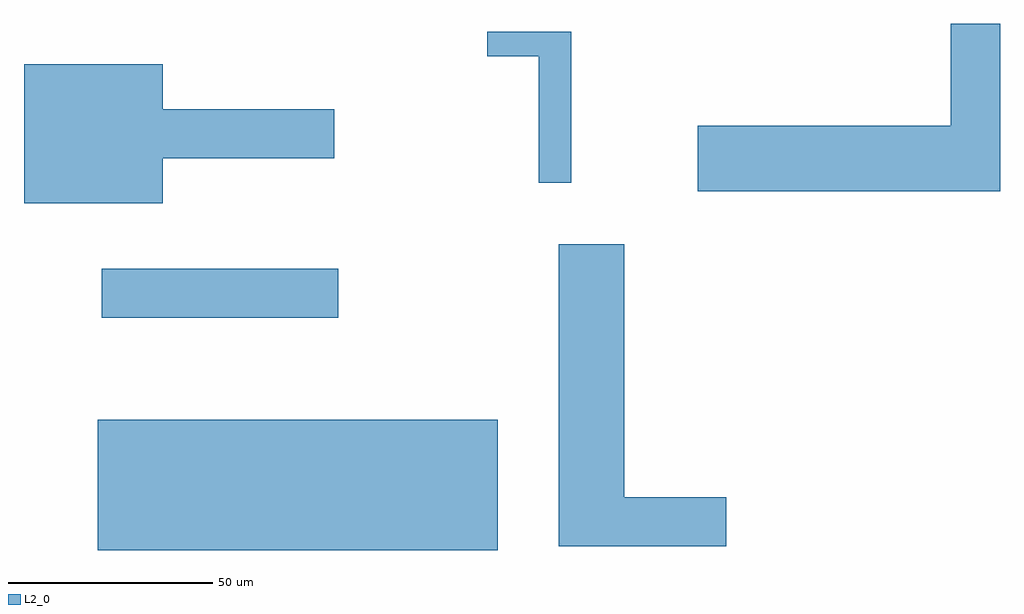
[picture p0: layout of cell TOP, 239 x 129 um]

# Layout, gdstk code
from math import pi, radians
import gdstk
lib = gdstk.Library(unit=1e-6, precision=1e-09)
def R(c, l, rs):  # rectangles x0, y0, x1, y1
    for r in rs: c.add(gdstk.rectangle(r[:2], r[2:], *l))
L2_0 = (2, 0)
L10_0 = (10, 0)
L11_0 = (11, 0)
L12_0 = (12, 0)
L13_0 = (13, 0)
L20_0 = (20, 0)
L21_0 = (21, 0)
L22_0 = (22, 0)
L23_0 = (23, 0)
L30_0 = (30, 0)
L31_0 = (31, 0)
L32_0 = (32, 0)
L33_0 = (33, 0)

c_a = lib.new_cell('A')
R(c_a, L2_0, [(0,-12,58,0)])

c_b = lib.new_cell('B')
R(c_b, L2_0, [(12,-17,20,20), (-0.5,14,20,20)])

b_var1 = lib.new_cell('B$VAR1')
b_var1.add(gdstk.FlexPath([(12,-17),(12,-16.5)], 0, ends="flush", simple_path=True, layer=10, datatype=0))  # L10_0
b_var1.add(gdstk.FlexPath([(12,14),(11.5,14)], 0, ends="flush", simple_path=True, layer=10, datatype=0))  # L10_0
b_var1.add(gdstk.FlexPath([(-0.5,14),(-0.5,14.5)], 0, ends="flush", simple_path=True, layer=10, datatype=0))  # L10_0
b_var1.add(gdstk.FlexPath([(-0.5,20),(0,20)], 0, ends="flush", simple_path=True, layer=10, datatype=0))  # L10_0
b_var1.add(gdstk.FlexPath([(20,20),(20,19.5)], 0, ends="flush", simple_path=True, layer=10, datatype=0))  # L10_0
b_var1.add(gdstk.FlexPath([(20,-17),(19.5,-17)], 0, ends="flush", simple_path=True, layer=10, datatype=0))  # L10_0
b_var1.add(gdstk.FlexPath([(12,-17),(12,-10.8)], 0, ends="flush", simple_path=True, layer=11, datatype=0))  # L11_0
b_var1.add(gdstk.FlexPath([(12,14),(9.5,14)], 0, ends="flush", simple_path=True, layer=11, datatype=0))  # L11_0
b_var1.add(gdstk.FlexPath([(-0.5,14),(-0.5,15.2)], 0, ends="flush", simple_path=True, layer=11, datatype=0))  # L11_0
b_var1.add(gdstk.FlexPath([(-0.5,20),(3.6,20)], 0, ends="flush", simple_path=True, layer=11, datatype=0))  # L11_0
b_var1.add(gdstk.FlexPath([(20,20),(20,12.6)], 0, ends="flush", simple_path=True, layer=11, datatype=0))  # L11_0
b_var1.add(gdstk.FlexPath([(20,-17),(18.4,-17)], 0, ends="flush", simple_path=True, layer=11, datatype=0))  # L11_0
b_var1.add(gdstk.FlexPath([(12,14),(11.5,14)], 0, ends="flush", simple_path=True, layer=12, datatype=0))  # L12_0
b_var1.add(gdstk.FlexPath([(-0.5,14),(-0.5,14.5)], 0, ends="flush", simple_path=True, layer=12, datatype=0))  # L12_0
b_var1.add(gdstk.FlexPath([(20,-17),(19.5,-17)], 0, ends="flush", simple_path=True, layer=12, datatype=0))  # L12_0
b_var1.add(gdstk.FlexPath([(12,14),(9.5,14)], 0, ends="flush", simple_path=True, layer=13, datatype=0))  # L13_0
b_var1.add(gdstk.FlexPath([(-0.5,14),(-0.5,15.2)], 0, ends="flush", simple_path=True, layer=13, datatype=0))  # L13_0
b_var1.add(gdstk.FlexPath([(20,-17),(18.4,-17)], 0, ends="flush", simple_path=True, layer=13, datatype=0))  # L13_0
b_var1.add(gdstk.FlexPath([(12,13.5),(12,14)], 0, ends="flush", simple_path=True, layer=20, datatype=0))  # L20_0
b_var1.add(gdstk.FlexPath([(0,14),(-0.5,14)], 0, ends="flush", simple_path=True, layer=20, datatype=0))  # L20_0
b_var1.add(gdstk.FlexPath([(-0.5,19.5),(-0.5,20)], 0, ends="flush", simple_path=True, layer=20, datatype=0))  # L20_0
b_var1.add(gdstk.FlexPath([(19.5,20),(20,20)], 0, ends="flush", simple_path=True, layer=20, datatype=0))  # L20_0
b_var1.add(gdstk.FlexPath([(20,-16.5),(20,-17)], 0, ends="flush", simple_path=True, layer=20, datatype=0))  # L20_0
b_var1.add(gdstk.FlexPath([(12.5,-17),(12,-17)], 0, ends="flush", simple_path=True, layer=20, datatype=0))  # L20_0
b_var1.add(gdstk.FlexPath([(12,7.8),(12,14)], 0, ends="flush", simple_path=True, layer=21, datatype=0))  # L21_0
b_var1.add(gdstk.FlexPath([(2,14),(-0.5,14)], 0, ends="flush", simple_path=True, layer=21, datatype=0))  # L21_0
b_var1.add(gdstk.FlexPath([(-0.5,18.8),(-0.5,20)], 0, ends="flush", simple_path=True, layer=21, datatype=0))  # L21_0
b_var1.add(gdstk.FlexPath([(15.9,20),(20,20)], 0, ends="flush", simple_path=True, layer=21, datatype=0))  # L21_0
b_var1.add(gdstk.FlexPath([(20,-9.6),(20,-17)], 0, ends="flush", simple_path=True, layer=21, datatype=0))  # L21_0
b_var1.add(gdstk.FlexPath([(13.6,-17),(12,-17)], 0, ends="flush", simple_path=True, layer=21, datatype=0))  # L21_0
b_var1.add(gdstk.FlexPath([(0,14),(-0.5,14)], 0, ends="flush", simple_path=True, layer=22, datatype=0))  # L22_0
b_var1.add(gdstk.FlexPath([(-0.5,19.5),(-0.5,20)], 0, ends="flush", simple_path=True, layer=22, datatype=0))  # L22_0
b_var1.add(gdstk.FlexPath([(12.5,-17),(12,-17)], 0, ends="flush", simple_path=True, layer=22, datatype=0))  # L22_0
b_var1.add(gdstk.FlexPath([(2,14),(-0.5,14)], 0, ends="flush", simple_path=True, layer=23, datatype=0))  # L23_0
b_var1.add(gdstk.FlexPath([(-0.5,18.8),(-0.5,20)], 0, ends="flush", simple_path=True, layer=23, datatype=0))  # L23_0
b_var1.add(gdstk.FlexPath([(13.6,-17),(12,-17)], 0, ends="flush", simple_path=True, layer=23, datatype=0))  # L23_0
b_var1.add(gdstk.FlexPath([(12,-1.75),(12,-1.25)], 0, ends="flush", simple_path=True, layer=30, datatype=0))  # L30_0
b_var1.add(gdstk.FlexPath([(6,14),(5.5,14)], 0, ends="flush", simple_path=True, layer=30, datatype=0))  # L30_0
b_var1.add(gdstk.FlexPath([(-0.5,16.75),(-0.5,17.25)], 0, ends="flush", simple_path=True, layer=30, datatype=0))  # L30_0
b_var1.add(gdstk.FlexPath([(9.5,20),(10,20)], 0, ends="flush", simple_path=True, layer=30, datatype=0))  # L30_0
b_var1.add(gdstk.FlexPath([(20,1.75),(20,1.25)], 0, ends="flush", simple_path=True, layer=30, datatype=0))  # L30_0
b_var1.add(gdstk.FlexPath([(16.25,-17),(15.75,-17)], 0, ends="flush", simple_path=True, layer=30, datatype=0))  # L30_0
b_var1.add(gdstk.FlexPath([(12,-4.6),(12,1.6)], 0, ends="flush", simple_path=True, layer=31, datatype=0))  # L31_0
b_var1.add(gdstk.FlexPath([(7,14),(4.5,14)], 0, ends="flush", simple_path=True, layer=31, datatype=0))  # L31_0
b_var1.add(gdstk.FlexPath([(-0.5,16.4),(-0.5,17.6)], 0, ends="flush", simple_path=True, layer=31, datatype=0))  # L31_0
b_var1.add(gdstk.FlexPath([(7.7,20),(11.8,20)], 0, ends="flush", simple_path=True, layer=31, datatype=0))  # L31_0
b_var1.add(gdstk.FlexPath([(20,5.2),(20,-2.2)], 0, ends="flush", simple_path=True, layer=31, datatype=0))  # L31_0
b_var1.add(gdstk.FlexPath([(16.8,-17),(15.2,-17)], 0, ends="flush", simple_path=True, layer=31, datatype=0))  # L31_0
b_var1.add(gdstk.FlexPath([(6,14),(5.5,14)], 0, ends="flush", simple_path=True, layer=32, datatype=0))  # L32_0
b_var1.add(gdstk.FlexPath([(-0.5,16.75),(-0.5,17.25)], 0, ends="flush", simple_path=True, layer=32, datatype=0))  # L32_0
b_var1.add(gdstk.FlexPath([(16.25,-17),(15.75,-17)], 0, ends="flush", simple_path=True, layer=32, datatype=0))  # L32_0
b_var1.add(gdstk.FlexPath([(7,14),(4.5,14)], 0, ends="flush", simple_path=True, layer=33, datatype=0))  # L33_0
b_var1.add(gdstk.FlexPath([(-0.5,16.4),(-0.5,17.6)], 0, ends="flush", simple_path=True, layer=33, datatype=0))  # L33_0
b_var1.add(gdstk.FlexPath([(16.8,-17),(15.2,-17)], 0, ends="flush", simple_path=True, layer=33, datatype=0))  # L33_0

c_c = lib.new_cell('C')
c_c.add(gdstk.Reference(c_b, (14,28), rotation=pi))
c_c.add(gdstk.Reference(b_var1, (14,28), rotation=pi))

b_1 = lib.new_cell('B$1')
b_1.add(gdstk.FlexPath([(12,-17),(12,-16)], 0, ends="flush", simple_path=True, layer=10, datatype=0))  # L10_0
b_1.add(gdstk.FlexPath([(12,14),(11,14)], 0, ends="flush", simple_path=True, layer=10, datatype=0))  # L10_0
b_1.add(gdstk.FlexPath([(-0.5,14),(-0.5,15)], 0, ends="flush", simple_path=True, layer=10, datatype=0))  # L10_0
b_1.add(gdstk.FlexPath([(-0.5,20),(0.5,20)], 0, ends="flush", simple_path=True, layer=10, datatype=0))  # L10_0
b_1.add(gdstk.FlexPath([(20,20),(20,19)], 0, ends="flush", simple_path=True, layer=10, datatype=0))  # L10_0
b_1.add(gdstk.FlexPath([(20,-17),(19,-17)], 0, ends="flush", simple_path=True, layer=10, datatype=0))  # L10_0
b_1.add(gdstk.FlexPath([(12,-17),(12,-10.8)], 0, ends="flush", simple_path=True, layer=11, datatype=0))  # L11_0
b_1.add(gdstk.FlexPath([(12,14),(9.5,14)], 0, ends="flush", simple_path=True, layer=11, datatype=0))  # L11_0
b_1.add(gdstk.FlexPath([(-0.5,14),(-0.5,15.2)], 0, ends="flush", simple_path=True, layer=11, datatype=0))  # L11_0
b_1.add(gdstk.FlexPath([(-0.5,20),(3.6,20)], 0, ends="flush", simple_path=True, layer=11, datatype=0))  # L11_0
b_1.add(gdstk.FlexPath([(20,20),(20,12.6)], 0, ends="flush", simple_path=True, layer=11, datatype=0))  # L11_0
b_1.add(gdstk.FlexPath([(20,-17),(18.4,-17)], 0, ends="flush", simple_path=True, layer=11, datatype=0))  # L11_0
b_1.add(gdstk.FlexPath([(12,-17),(12,-16)], 0, ends="flush", simple_path=True, layer=12, datatype=0))  # L12_0
b_1.add(gdstk.FlexPath([(12,14),(11,14)], 0, ends="flush", simple_path=True, layer=12, datatype=0))  # L12_0
b_1.add(gdstk.FlexPath([(-0.5,14),(-0.5,15)], 0, ends="flush", simple_path=True, layer=12, datatype=0))  # L12_0
b_1.add(gdstk.FlexPath([(-0.5,20),(0.5,20)], 0, ends="flush", simple_path=True, layer=12, datatype=0))  # L12_0
b_1.add(gdstk.FlexPath([(20,20),(20,19)], 0, ends="flush", simple_path=True, layer=12, datatype=0))  # L12_0
b_1.add(gdstk.FlexPath([(20,-17),(19,-17)], 0, ends="flush", simple_path=True, layer=12, datatype=0))  # L12_0
b_1.add(gdstk.FlexPath([(12,-17),(12,-10.8)], 0, ends="flush", simple_path=True, layer=13, datatype=0))  # L13_0
b_1.add(gdstk.FlexPath([(12,14),(9.5,14)], 0, ends="flush", simple_path=True, layer=13, datatype=0))  # L13_0
b_1.add(gdstk.FlexPath([(-0.5,14),(-0.5,15.2)], 0, ends="flush", simple_path=True, layer=13, datatype=0))  # L13_0
b_1.add(gdstk.FlexPath([(-0.5,20),(3.6,20)], 0, ends="flush", simple_path=True, layer=13, datatype=0))  # L13_0
b_1.add(gdstk.FlexPath([(20,20),(20,12.6)], 0, ends="flush", simple_path=True, layer=13, datatype=0))  # L13_0
b_1.add(gdstk.FlexPath([(20,-17),(18.4,-17)], 0, ends="flush", simple_path=True, layer=13, datatype=0))  # L13_0
b_1.add(gdstk.FlexPath([(12,13),(12,14)], 0, ends="flush", simple_path=True, layer=20, datatype=0))  # L20_0
b_1.add(gdstk.FlexPath([(0.5,14),(-0.5,14)], 0, ends="flush", simple_path=True, layer=20, datatype=0))  # L20_0
b_1.add(gdstk.FlexPath([(-0.5,19),(-0.5,20)], 0, ends="flush", simple_path=True, layer=20, datatype=0))  # L20_0
b_1.add(gdstk.FlexPath([(19,20),(20,20)], 0, ends="flush", simple_path=True, layer=20, datatype=0))  # L20_0
b_1.add(gdstk.FlexPath([(20,-16),(20,-17)], 0, ends="flush", simple_path=True, layer=20, datatype=0))  # L20_0
b_1.add(gdstk.FlexPath([(13,-17),(12,-17)], 0, ends="flush", simple_path=True, layer=20, datatype=0))  # L20_0
b_1.add(gdstk.FlexPath([(12,7.8),(12,14)], 0, ends="flush", simple_path=True, layer=21, datatype=0))  # L21_0
b_1.add(gdstk.FlexPath([(2,14),(-0.5,14)], 0, ends="flush", simple_path=True, layer=21, datatype=0))  # L21_0
b_1.add(gdstk.FlexPath([(-0.5,18.8),(-0.5,20)], 0, ends="flush", simple_path=True, layer=21, datatype=0))  # L21_0
b_1.add(gdstk.FlexPath([(15.9,20),(20,20)], 0, ends="flush", simple_path=True, layer=21, datatype=0))  # L21_0
b_1.add(gdstk.FlexPath([(20,-9.6),(20,-17)], 0, ends="flush", simple_path=True, layer=21, datatype=0))  # L21_0
b_1.add(gdstk.FlexPath([(13.6,-17),(12,-17)], 0, ends="flush", simple_path=True, layer=21, datatype=0))  # L21_0
b_1.add(gdstk.FlexPath([(12,13),(12,14)], 0, ends="flush", simple_path=True, layer=22, datatype=0))  # L22_0
b_1.add(gdstk.FlexPath([(0.5,14),(-0.5,14)], 0, ends="flush", simple_path=True, layer=22, datatype=0))  # L22_0
b_1.add(gdstk.FlexPath([(-0.5,19),(-0.5,20)], 0, ends="flush", simple_path=True, layer=22, datatype=0))  # L22_0
b_1.add(gdstk.FlexPath([(19,20),(20,20)], 0, ends="flush", simple_path=True, layer=22, datatype=0))  # L22_0
b_1.add(gdstk.FlexPath([(20,-16),(20,-17)], 0, ends="flush", simple_path=True, layer=22, datatype=0))  # L22_0
b_1.add(gdstk.FlexPath([(13,-17),(12,-17)], 0, ends="flush", simple_path=True, layer=22, datatype=0))  # L22_0
b_1.add(gdstk.FlexPath([(12,7.8),(12,14)], 0, ends="flush", simple_path=True, layer=23, datatype=0))  # L23_0
b_1.add(gdstk.FlexPath([(2,14),(-0.5,14)], 0, ends="flush", simple_path=True, layer=23, datatype=0))  # L23_0
b_1.add(gdstk.FlexPath([(-0.5,18.8),(-0.5,20)], 0, ends="flush", simple_path=True, layer=23, datatype=0))  # L23_0
b_1.add(gdstk.FlexPath([(15.9,20),(20,20)], 0, ends="flush", simple_path=True, layer=23, datatype=0))  # L23_0
b_1.add(gdstk.FlexPath([(20,-9.6),(20,-17)], 0, ends="flush", simple_path=True, layer=23, datatype=0))  # L23_0
b_1.add(gdstk.FlexPath([(13.6,-17),(12,-17)], 0, ends="flush", simple_path=True, layer=23, datatype=0))  # L23_0
b_1.add(gdstk.FlexPath([(12,-2),(12,-1)], 0, ends="flush", simple_path=True, layer=30, datatype=0))  # L30_0
b_1.add(gdstk.FlexPath([(6.25,14),(5.25,14)], 0, ends="flush", simple_path=True, layer=30, datatype=0))  # L30_0
b_1.add(gdstk.FlexPath([(-0.5,16.5),(-0.5,17.5)], 0, ends="flush", simple_path=True, layer=30, datatype=0))  # L30_0
b_1.add(gdstk.FlexPath([(9.25,20),(10.25,20)], 0, ends="flush", simple_path=True, layer=30, datatype=0))  # L30_0
b_1.add(gdstk.FlexPath([(20,2),(20,1)], 0, ends="flush", simple_path=True, layer=30, datatype=0))  # L30_0
b_1.add(gdstk.FlexPath([(16.5,-17),(15.5,-17)], 0, ends="flush", simple_path=True, layer=30, datatype=0))  # L30_0
b_1.add(gdstk.FlexPath([(12,-4.6),(12,1.6)], 0, ends="flush", simple_path=True, layer=31, datatype=0))  # L31_0
b_1.add(gdstk.FlexPath([(7,14),(4.5,14)], 0, ends="flush", simple_path=True, layer=31, datatype=0))  # L31_0
b_1.add(gdstk.FlexPath([(-0.5,16.4),(-0.5,17.6)], 0, ends="flush", simple_path=True, layer=31, datatype=0))  # L31_0
b_1.add(gdstk.FlexPath([(7.7,20),(11.8,20)], 0, ends="flush", simple_path=True, layer=31, datatype=0))  # L31_0
b_1.add(gdstk.FlexPath([(20,5.2),(20,-2.2)], 0, ends="flush", simple_path=True, layer=31, datatype=0))  # L31_0
b_1.add(gdstk.FlexPath([(16.8,-17),(15.2,-17)], 0, ends="flush", simple_path=True, layer=31, datatype=0))  # L31_0
b_1.add(gdstk.FlexPath([(12,-2),(12,-1)], 0, ends="flush", simple_path=True, layer=32, datatype=0))  # L32_0
b_1.add(gdstk.FlexPath([(6.25,14),(5.25,14)], 0, ends="flush", simple_path=True, layer=32, datatype=0))  # L32_0
b_1.add(gdstk.FlexPath([(-0.5,16.5),(-0.5,17.5)], 0, ends="flush", simple_path=True, layer=32, datatype=0))  # L32_0
b_1.add(gdstk.FlexPath([(9.25,20),(10.25,20)], 0, ends="flush", simple_path=True, layer=32, datatype=0))  # L32_0
b_1.add(gdstk.FlexPath([(20,2),(20,1)], 0, ends="flush", simple_path=True, layer=32, datatype=0))  # L32_0
b_1.add(gdstk.FlexPath([(16.5,-17),(15.5,-17)], 0, ends="flush", simple_path=True, layer=32, datatype=0))  # L32_0
b_1.add(gdstk.FlexPath([(12,-4.6),(12,1.6)], 0, ends="flush", simple_path=True, layer=33, datatype=0))  # L33_0
b_1.add(gdstk.FlexPath([(7,14),(4.5,14)], 0, ends="flush", simple_path=True, layer=33, datatype=0))  # L33_0
b_1.add(gdstk.FlexPath([(-0.5,16.4),(-0.5,17.6)], 0, ends="flush", simple_path=True, layer=33, datatype=0))  # L33_0
b_1.add(gdstk.FlexPath([(7.7,20),(11.8,20)], 0, ends="flush", simple_path=True, layer=33, datatype=0))  # L33_0
b_1.add(gdstk.FlexPath([(20,5.2),(20,-2.2)], 0, ends="flush", simple_path=True, layer=33, datatype=0))  # L33_0
b_1.add(gdstk.FlexPath([(16.8,-17),(15.2,-17)], 0, ends="flush", simple_path=True, layer=33, datatype=0))  # L33_0

top = lib.new_cell('TOP')
R(top, L2_0, [(-11,-15,23,19)])
top.add(gdstk.FlexPath([(-11,-15),(-11,-14)], 0, ends="flush", simple_path=True, layer=10, datatype=0))  # L10_0
top.add(gdstk.FlexPath([(-11,19),(-10,19)], 0, ends="flush", simple_path=True, layer=10, datatype=0))  # L10_0
top.add(gdstk.FlexPath([(23,19),(23,18)], 0, ends="flush", simple_path=True, layer=10, datatype=0))  # L10_0
top.add(gdstk.FlexPath([(23,8),(24,8)], 0, ends="flush", simple_path=True, layer=10, datatype=0))  # L10_0
top.add(gdstk.FlexPath([(65,8),(65,7)], 0, ends="flush", simple_path=True, layer=10, datatype=0))  # L10_0
top.add(gdstk.FlexPath([(65,-4),(64,-4)], 0, ends="flush", simple_path=True, layer=10, datatype=0))  # L10_0
top.add(gdstk.FlexPath([(23,-4),(23,-5)], 0, ends="flush", simple_path=True, layer=10, datatype=0))  # L10_0
top.add(gdstk.FlexPath([(23,-15),(22,-15)], 0, ends="flush", simple_path=True, layer=10, datatype=0))  # L10_0
top.add(gdstk.FlexPath([(7,-100),(7,-99)], 0, ends="flush", simple_path=True, layer=10, datatype=0))  # L10_0
top.add(gdstk.FlexPath([(7,-68),(8,-68)], 0, ends="flush", simple_path=True, layer=10, datatype=0))  # L10_0
top.add(gdstk.FlexPath([(105,-68),(105,-69)], 0, ends="flush", simple_path=True, layer=10, datatype=0))  # L10_0
top.add(gdstk.FlexPath([(105,-100),(104,-100)], 0, ends="flush", simple_path=True, layer=10, datatype=0))  # L10_0
top.add(gdstk.FlexPath([(8,-43),(8,-42)], 0, ends="flush", simple_path=True, layer=10, datatype=0))  # L10_0
top.add(gdstk.FlexPath([(8,-31),(9,-31)], 0, ends="flush", simple_path=True, layer=10, datatype=0))  # L10_0
top.add(gdstk.FlexPath([(66,-31),(66,-32)], 0, ends="flush", simple_path=True, layer=10, datatype=0))  # L10_0
top.add(gdstk.FlexPath([(66,-43),(65,-43)], 0, ends="flush", simple_path=True, layer=10, datatype=0))  # L10_0
top.add(gdstk.FlexPath([(-11,-15),(-11,-8.2)], 0, ends="flush", simple_path=True, layer=11, datatype=0))  # L11_0
top.add(gdstk.FlexPath([(-11,19),(-4.2,19)], 0, ends="flush", simple_path=True, layer=11, datatype=0))  # L11_0
top.add(gdstk.FlexPath([(23,19),(23,16.8)], 0, ends="flush", simple_path=True, layer=11, datatype=0))  # L11_0
top.add(gdstk.FlexPath([(23,8),(31.4,8)], 0, ends="flush", simple_path=True, layer=11, datatype=0))  # L11_0
top.add(gdstk.FlexPath([(65,8),(65,5.6)], 0, ends="flush", simple_path=True, layer=11, datatype=0))  # L11_0
top.add(gdstk.FlexPath([(65,-4),(56.6,-4)], 0, ends="flush", simple_path=True, layer=11, datatype=0))  # L11_0
top.add(gdstk.FlexPath([(23,-4),(23,-6.2)], 0, ends="flush", simple_path=True, layer=11, datatype=0))  # L11_0
top.add(gdstk.FlexPath([(23,-15),(16.2,-15)], 0, ends="flush", simple_path=True, layer=11, datatype=0))  # L11_0
top.add(gdstk.FlexPath([(7,-100),(7,-93.6)], 0, ends="flush", simple_path=True, layer=11, datatype=0))  # L11_0
top.add(gdstk.FlexPath([(7,-68),(26.6,-68)], 0, ends="flush", simple_path=True, layer=11, datatype=0))  # L11_0
top.add(gdstk.FlexPath([(105,-68),(105,-74.4)], 0, ends="flush", simple_path=True, layer=11, datatype=0))  # L11_0
top.add(gdstk.FlexPath([(105,-100),(85.4,-100)], 0, ends="flush", simple_path=True, layer=11, datatype=0))  # L11_0
top.add(gdstk.FlexPath([(8,-43),(8,-40.6)], 0, ends="flush", simple_path=True, layer=11, datatype=0))  # L11_0
top.add(gdstk.FlexPath([(8,-31),(19.6,-31)], 0, ends="flush", simple_path=True, layer=11, datatype=0))  # L11_0
top.add(gdstk.FlexPath([(66,-31),(66,-33.4)], 0, ends="flush", simple_path=True, layer=11, datatype=0))  # L11_0
top.add(gdstk.FlexPath([(66,-43),(54.4,-43)], 0, ends="flush", simple_path=True, layer=11, datatype=0))  # L11_0
top.add(gdstk.FlexPath([(-11,-15),(-11,-14)], 0, ends="flush", simple_path=True, layer=12, datatype=0))  # L12_0
top.add(gdstk.FlexPath([(-11,19),(-10,19)], 0, ends="flush", simple_path=True, layer=12, datatype=0))  # L12_0
top.add(gdstk.FlexPath([(23,19),(23,18)], 0, ends="flush", simple_path=True, layer=12, datatype=0))  # L12_0
top.add(gdstk.FlexPath([(65,8),(65,7)], 0, ends="flush", simple_path=True, layer=12, datatype=0))  # L12_0
top.add(gdstk.FlexPath([(23,-4),(23,-5)], 0, ends="flush", simple_path=True, layer=12, datatype=0))  # L12_0
top.add(gdstk.FlexPath([(23,-15),(22,-15)], 0, ends="flush", simple_path=True, layer=12, datatype=0))  # L12_0
top.add(gdstk.FlexPath([(7,-100),(7,-99)], 0, ends="flush", simple_path=True, layer=12, datatype=0))  # L12_0
top.add(gdstk.FlexPath([(105,-68),(105,-69)], 0, ends="flush", simple_path=True, layer=12, datatype=0))  # L12_0
top.add(gdstk.FlexPath([(8,-43),(8,-42)], 0, ends="flush", simple_path=True, layer=12, datatype=0))  # L12_0
top.add(gdstk.FlexPath([(66,-31),(66,-32)], 0, ends="flush", simple_path=True, layer=12, datatype=0))  # L12_0
top.add(gdstk.FlexPath([(-11,-15),(-11,-8.2)], 0, ends="flush", simple_path=True, layer=13, datatype=0))  # L13_0
top.add(gdstk.FlexPath([(-11,19),(-4.2,19)], 0, ends="flush", simple_path=True, layer=13, datatype=0))  # L13_0
top.add(gdstk.FlexPath([(23,19),(23,16.8)], 0, ends="flush", simple_path=True, layer=13, datatype=0))  # L13_0
top.add(gdstk.FlexPath([(65,8),(65,5.6)], 0, ends="flush", simple_path=True, layer=13, datatype=0))  # L13_0
top.add(gdstk.FlexPath([(23,-4),(23,-6.2)], 0, ends="flush", simple_path=True, layer=13, datatype=0))  # L13_0
top.add(gdstk.FlexPath([(23,-15),(16.2,-15)], 0, ends="flush", simple_path=True, layer=13, datatype=0))  # L13_0
top.add(gdstk.FlexPath([(7,-100),(7,-93.6)], 0, ends="flush", simple_path=True, layer=13, datatype=0))  # L13_0
top.add(gdstk.FlexPath([(105,-68),(105,-74.4)], 0, ends="flush", simple_path=True, layer=13, datatype=0))  # L13_0
top.add(gdstk.FlexPath([(8,-43),(8,-40.6)], 0, ends="flush", simple_path=True, layer=13, datatype=0))  # L13_0
top.add(gdstk.FlexPath([(66,-31),(66,-33.4)], 0, ends="flush", simple_path=True, layer=13, datatype=0))  # L13_0
top.add(gdstk.FlexPath([(-11,18),(-11,19)], 0, ends="flush", simple_path=True, layer=20, datatype=0))  # L20_0
top.add(gdstk.FlexPath([(22,19),(23,19)], 0, ends="flush", simple_path=True, layer=20, datatype=0))  # L20_0
top.add(gdstk.FlexPath([(23,9),(23,8)], 0, ends="flush", simple_path=True, layer=20, datatype=0))  # L20_0
top.add(gdstk.FlexPath([(64,8),(65,8)], 0, ends="flush", simple_path=True, layer=20, datatype=0))  # L20_0
top.add(gdstk.FlexPath([(65,-3),(65,-4)], 0, ends="flush", simple_path=True, layer=20, datatype=0))  # L20_0
top.add(gdstk.FlexPath([(24,-4),(23,-4)], 0, ends="flush", simple_path=True, layer=20, datatype=0))  # L20_0
top.add(gdstk.FlexPath([(23,-14),(23,-15)], 0, ends="flush", simple_path=True, layer=20, datatype=0))  # L20_0
top.add(gdstk.FlexPath([(-10,-15),(-11,-15)], 0, ends="flush", simple_path=True, layer=20, datatype=0))  # L20_0
top.add(gdstk.FlexPath([(7,-69),(7,-68)], 0, ends="flush", simple_path=True, layer=20, datatype=0))  # L20_0
top.add(gdstk.FlexPath([(104,-68),(105,-68)], 0, ends="flush", simple_path=True, layer=20, datatype=0))  # L20_0
top.add(gdstk.FlexPath([(105,-99),(105,-100)], 0, ends="flush", simple_path=True, layer=20, datatype=0))  # L20_0
top.add(gdstk.FlexPath([(8,-100),(7,-100)], 0, ends="flush", simple_path=True, layer=20, datatype=0))  # L20_0
top.add(gdstk.FlexPath([(8,-32),(8,-31)], 0, ends="flush", simple_path=True, layer=20, datatype=0))  # L20_0
top.add(gdstk.FlexPath([(65,-31),(66,-31)], 0, ends="flush", simple_path=True, layer=20, datatype=0))  # L20_0
top.add(gdstk.FlexPath([(66,-42),(66,-43)], 0, ends="flush", simple_path=True, layer=20, datatype=0))  # L20_0
top.add(gdstk.FlexPath([(9,-43),(8,-43)], 0, ends="flush", simple_path=True, layer=20, datatype=0))  # L20_0
top.add(gdstk.FlexPath([(-11,12.2),(-11,19)], 0, ends="flush", simple_path=True, layer=21, datatype=0))  # L21_0
top.add(gdstk.FlexPath([(16.2,19),(23,19)], 0, ends="flush", simple_path=True, layer=21, datatype=0))  # L21_0
top.add(gdstk.FlexPath([(23,10.2),(23,8)], 0, ends="flush", simple_path=True, layer=21, datatype=0))  # L21_0
top.add(gdstk.FlexPath([(56.6,8),(65,8)], 0, ends="flush", simple_path=True, layer=21, datatype=0))  # L21_0
top.add(gdstk.FlexPath([(65,-1.6),(65,-4)], 0, ends="flush", simple_path=True, layer=21, datatype=0))  # L21_0
top.add(gdstk.FlexPath([(31.4,-4),(23,-4)], 0, ends="flush", simple_path=True, layer=21, datatype=0))  # L21_0
top.add(gdstk.FlexPath([(23,-12.8),(23,-15)], 0, ends="flush", simple_path=True, layer=21, datatype=0))  # L21_0
top.add(gdstk.FlexPath([(-4.2,-15),(-11,-15)], 0, ends="flush", simple_path=True, layer=21, datatype=0))  # L21_0
top.add(gdstk.FlexPath([(7,-74.4),(7,-68)], 0, ends="flush", simple_path=True, layer=21, datatype=0))  # L21_0
top.add(gdstk.FlexPath([(85.4,-68),(105,-68)], 0, ends="flush", simple_path=True, layer=21, datatype=0))  # L21_0
top.add(gdstk.FlexPath([(105,-93.6),(105,-100)], 0, ends="flush", simple_path=True, layer=21, datatype=0))  # L21_0
top.add(gdstk.FlexPath([(26.6,-100),(7,-100)], 0, ends="flush", simple_path=True, layer=21, datatype=0))  # L21_0
top.add(gdstk.FlexPath([(8,-33.4),(8,-31)], 0, ends="flush", simple_path=True, layer=21, datatype=0))  # L21_0
top.add(gdstk.FlexPath([(54.4,-31),(66,-31)], 0, ends="flush", simple_path=True, layer=21, datatype=0))  # L21_0
top.add(gdstk.FlexPath([(66,-40.6),(66,-43)], 0, ends="flush", simple_path=True, layer=21, datatype=0))  # L21_0
top.add(gdstk.FlexPath([(19.6,-43),(8,-43)], 0, ends="flush", simple_path=True, layer=21, datatype=0))  # L21_0
top.add(gdstk.FlexPath([(-11,18),(-11,19)], 0, ends="flush", simple_path=True, layer=22, datatype=0))  # L22_0
top.add(gdstk.FlexPath([(22,19),(23,19)], 0, ends="flush", simple_path=True, layer=22, datatype=0))  # L22_0
top.add(gdstk.FlexPath([(23,9),(23,8)], 0, ends="flush", simple_path=True, layer=22, datatype=0))  # L22_0
top.add(gdstk.FlexPath([(65,-3),(65,-4)], 0, ends="flush", simple_path=True, layer=22, datatype=0))  # L22_0
top.add(gdstk.FlexPath([(23,-14),(23,-15)], 0, ends="flush", simple_path=True, layer=22, datatype=0))  # L22_0
top.add(gdstk.FlexPath([(-10,-15),(-11,-15)], 0, ends="flush", simple_path=True, layer=22, datatype=0))  # L22_0
top.add(gdstk.FlexPath([(7,-69),(7,-68)], 0, ends="flush", simple_path=True, layer=22, datatype=0))  # L22_0
top.add(gdstk.FlexPath([(105,-99),(105,-100)], 0, ends="flush", simple_path=True, layer=22, datatype=0))  # L22_0
top.add(gdstk.FlexPath([(8,-32),(8,-31)], 0, ends="flush", simple_path=True, layer=22, datatype=0))  # L22_0
top.add(gdstk.FlexPath([(66,-42),(66,-43)], 0, ends="flush", simple_path=True, layer=22, datatype=0))  # L22_0
top.add(gdstk.FlexPath([(-11,12.2),(-11,19)], 0, ends="flush", simple_path=True, layer=23, datatype=0))  # L23_0
top.add(gdstk.FlexPath([(16.2,19),(23,19)], 0, ends="flush", simple_path=True, layer=23, datatype=0))  # L23_0
top.add(gdstk.FlexPath([(23,10.2),(23,8)], 0, ends="flush", simple_path=True, layer=23, datatype=0))  # L23_0
top.add(gdstk.FlexPath([(65,-1.6),(65,-4)], 0, ends="flush", simple_path=True, layer=23, datatype=0))  # L23_0
top.add(gdstk.FlexPath([(23,-12.8),(23,-15)], 0, ends="flush", simple_path=True, layer=23, datatype=0))  # L23_0
top.add(gdstk.FlexPath([(-4.2,-15),(-11,-15)], 0, ends="flush", simple_path=True, layer=23, datatype=0))  # L23_0
top.add(gdstk.FlexPath([(7,-74.4),(7,-68)], 0, ends="flush", simple_path=True, layer=23, datatype=0))  # L23_0
top.add(gdstk.FlexPath([(105,-93.6),(105,-100)], 0, ends="flush", simple_path=True, layer=23, datatype=0))  # L23_0
top.add(gdstk.FlexPath([(8,-33.4),(8,-31)], 0, ends="flush", simple_path=True, layer=23, datatype=0))  # L23_0
top.add(gdstk.FlexPath([(66,-40.6),(66,-43)], 0, ends="flush", simple_path=True, layer=23, datatype=0))  # L23_0
top.add(gdstk.FlexPath([(-11,1.5),(-11,2.5)], 0, ends="flush", simple_path=True, layer=30, datatype=0))  # L30_0
top.add(gdstk.FlexPath([(5.5,19),(6.5,19)], 0, ends="flush", simple_path=True, layer=30, datatype=0))  # L30_0
top.add(gdstk.FlexPath([(23,14),(23,13)], 0, ends="flush", simple_path=True, layer=30, datatype=0))  # L30_0
top.add(gdstk.FlexPath([(43.5,8),(44.5,8)], 0, ends="flush", simple_path=True, layer=30, datatype=0))  # L30_0
top.add(gdstk.FlexPath([(65,2.5),(65,1.5)], 0, ends="flush", simple_path=True, layer=30, datatype=0))  # L30_0
top.add(gdstk.FlexPath([(44.5,-4),(43.5,-4)], 0, ends="flush", simple_path=True, layer=30, datatype=0))  # L30_0
top.add(gdstk.FlexPath([(23,-9),(23,-10)], 0, ends="flush", simple_path=True, layer=30, datatype=0))  # L30_0
top.add(gdstk.FlexPath([(6.5,-15),(5.5,-15)], 0, ends="flush", simple_path=True, layer=30, datatype=0))  # L30_0
top.add(gdstk.FlexPath([(7,-84.5),(7,-83.5)], 0, ends="flush", simple_path=True, layer=30, datatype=0))  # L30_0
top.add(gdstk.FlexPath([(55.5,-68),(56.5,-68)], 0, ends="flush", simple_path=True, layer=30, datatype=0))  # L30_0
top.add(gdstk.FlexPath([(105,-83.5),(105,-84.5)], 0, ends="flush", simple_path=True, layer=30, datatype=0))  # L30_0
top.add(gdstk.FlexPath([(56.5,-100),(55.5,-100)], 0, ends="flush", simple_path=True, layer=30, datatype=0))  # L30_0
top.add(gdstk.FlexPath([(8,-37.5),(8,-36.5)], 0, ends="flush", simple_path=True, layer=30, datatype=0))  # L30_0
top.add(gdstk.FlexPath([(36.5,-31),(37.5,-31)], 0, ends="flush", simple_path=True, layer=30, datatype=0))  # L30_0
top.add(gdstk.FlexPath([(66,-36.5),(66,-37.5)], 0, ends="flush", simple_path=True, layer=30, datatype=0))  # L30_0
top.add(gdstk.FlexPath([(37.5,-43),(36.5,-43)], 0, ends="flush", simple_path=True, layer=30, datatype=0))  # L30_0
top.add(gdstk.FlexPath([(-11,-1.4),(-11,5.4)], 0, ends="flush", simple_path=True, layer=31, datatype=0))  # L31_0
top.add(gdstk.FlexPath([(2.6,19),(9.4,19)], 0, ends="flush", simple_path=True, layer=31, datatype=0))  # L31_0
top.add(gdstk.FlexPath([(23,14.6),(23,12.4)], 0, ends="flush", simple_path=True, layer=31, datatype=0))  # L31_0
top.add(gdstk.FlexPath([(39.8,8),(48.2,8)], 0, ends="flush", simple_path=True, layer=31, datatype=0))  # L31_0
top.add(gdstk.FlexPath([(65,3.2),(65,0.8)], 0, ends="flush", simple_path=True, layer=31, datatype=0))  # L31_0
top.add(gdstk.FlexPath([(48.2,-4),(39.8,-4)], 0, ends="flush", simple_path=True, layer=31, datatype=0))  # L31_0
top.add(gdstk.FlexPath([(23,-8.4),(23,-10.6)], 0, ends="flush", simple_path=True, layer=31, datatype=0))  # L31_0
top.add(gdstk.FlexPath([(9.4,-15),(2.6,-15)], 0, ends="flush", simple_path=True, layer=31, datatype=0))  # L31_0
top.add(gdstk.FlexPath([(7,-87.2),(7,-80.8)], 0, ends="flush", simple_path=True, layer=31, datatype=0))  # L31_0
top.add(gdstk.FlexPath([(46.2,-68),(65.8,-68)], 0, ends="flush", simple_path=True, layer=31, datatype=0))  # L31_0
top.add(gdstk.FlexPath([(105,-80.8),(105,-87.2)], 0, ends="flush", simple_path=True, layer=31, datatype=0))  # L31_0
top.add(gdstk.FlexPath([(65.8,-100),(46.2,-100)], 0, ends="flush", simple_path=True, layer=31, datatype=0))  # L31_0
top.add(gdstk.FlexPath([(8,-38.2),(8,-35.8)], 0, ends="flush", simple_path=True, layer=31, datatype=0))  # L31_0
top.add(gdstk.FlexPath([(31.2,-31),(42.8,-31)], 0, ends="flush", simple_path=True, layer=31, datatype=0))  # L31_0
top.add(gdstk.FlexPath([(66,-35.8),(66,-38.2)], 0, ends="flush", simple_path=True, layer=31, datatype=0))  # L31_0
top.add(gdstk.FlexPath([(42.8,-43),(31.2,-43)], 0, ends="flush", simple_path=True, layer=31, datatype=0))  # L31_0
top.add(gdstk.FlexPath([(-11,1.5),(-11,2.5)], 0, ends="flush", simple_path=True, layer=32, datatype=0))  # L32_0
top.add(gdstk.FlexPath([(5.5,19),(6.5,19)], 0, ends="flush", simple_path=True, layer=32, datatype=0))  # L32_0
top.add(gdstk.FlexPath([(23,14),(23,13)], 0, ends="flush", simple_path=True, layer=32, datatype=0))  # L32_0
top.add(gdstk.FlexPath([(65,2.5),(65,1.5)], 0, ends="flush", simple_path=True, layer=32, datatype=0))  # L32_0
top.add(gdstk.FlexPath([(23,-9),(23,-10)], 0, ends="flush", simple_path=True, layer=32, datatype=0))  # L32_0
top.add(gdstk.FlexPath([(6.5,-15),(5.5,-15)], 0, ends="flush", simple_path=True, layer=32, datatype=0))  # L32_0
top.add(gdstk.FlexPath([(7,-84.5),(7,-83.5)], 0, ends="flush", simple_path=True, layer=32, datatype=0))  # L32_0
top.add(gdstk.FlexPath([(105,-83.5),(105,-84.5)], 0, ends="flush", simple_path=True, layer=32, datatype=0))  # L32_0
top.add(gdstk.FlexPath([(8,-37.5),(8,-36.5)], 0, ends="flush", simple_path=True, layer=32, datatype=0))  # L32_0
top.add(gdstk.FlexPath([(66,-36.5),(66,-37.5)], 0, ends="flush", simple_path=True, layer=32, datatype=0))  # L32_0
top.add(gdstk.FlexPath([(-11,-1.4),(-11,5.4)], 0, ends="flush", simple_path=True, layer=33, datatype=0))  # L33_0
top.add(gdstk.FlexPath([(2.6,19),(9.4,19)], 0, ends="flush", simple_path=True, layer=33, datatype=0))  # L33_0
top.add(gdstk.FlexPath([(23,14.6),(23,12.4)], 0, ends="flush", simple_path=True, layer=33, datatype=0))  # L33_0
top.add(gdstk.FlexPath([(65,3.2),(65,0.8)], 0, ends="flush", simple_path=True, layer=33, datatype=0))  # L33_0
top.add(gdstk.FlexPath([(23,-8.4),(23,-10.6)], 0, ends="flush", simple_path=True, layer=33, datatype=0))  # L33_0
top.add(gdstk.FlexPath([(9.4,-15),(2.6,-15)], 0, ends="flush", simple_path=True, layer=33, datatype=0))  # L33_0
top.add(gdstk.FlexPath([(7,-87.2),(7,-80.8)], 0, ends="flush", simple_path=True, layer=33, datatype=0))  # L33_0
top.add(gdstk.FlexPath([(105,-80.8),(105,-87.2)], 0, ends="flush", simple_path=True, layer=33, datatype=0))  # L33_0
top.add(gdstk.FlexPath([(8,-38.2),(8,-35.8)], 0, ends="flush", simple_path=True, layer=33, datatype=0))  # L33_0
top.add(gdstk.FlexPath([(66,-35.8),(66,-38.2)], 0, ends="flush", simple_path=True, layer=33, datatype=0))  # L33_0
top.add(gdstk.Reference(c_a, (7,8)))
top.add(gdstk.Reference(c_a, (8,-31)))
r = gdstk.Reference(c_a, (7,-88)); r.repetition = gdstk.Repetition(2, 5, v1=(40,0), v2=(0,5)); top.add(r)
top.add(gdstk.Reference(c_b, (103,7)))
top.add(gdstk.Reference(c_b, (160,-59), rotation=pi, magnification=2))
top.add(gdstk.Reference(c_c, (244,0), rotation=pi/2, magnification=2))
top.add(gdstk.Reference(b_1, (103,7)))
top.add(gdstk.Reference(b_var1, (160,-59), rotation=pi, magnification=2))

lib.write_gds('TOP.gds')
